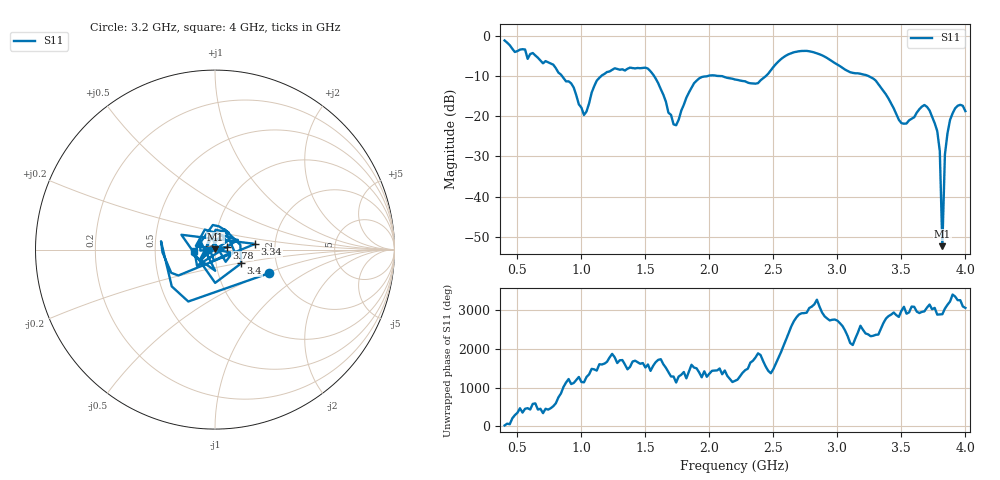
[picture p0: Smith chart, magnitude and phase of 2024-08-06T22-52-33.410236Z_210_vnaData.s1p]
!Created with skrf (http://scikit-rf.org).
# Hz S RI R 50.0
!freq ReS11 ImS11
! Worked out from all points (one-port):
!   181 points, 400 MHz to 4 GHz, reference 50 ohm
!   lowest |S11| = -52.3 dB at 3.82 GHz (marker M1), VSWR 1.00, Z = 50.2 + j0.0838 ohm
!   |S11| at or under -10 dB: 1.567 GHz to 1.991 GHz (423.5 MHz wide, 23.8 % of centre); 2.06 GHz to 2.442 GHz (382.6 MHz wide, 17 % of centre); 3.24 GHz to end of sweep (the widest 3 of 4)
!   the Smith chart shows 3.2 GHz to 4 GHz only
!   S11 on the Smith chart (normalised r, x): 3.2 GHz: 1.77, -0.52; 3.34 GHz: 1.57, +0.10; 3.4 GHz: 1.32, -0.21; 3.78 GHz: 1.14, +0.03; 4 GHz: 0.79, -0.01
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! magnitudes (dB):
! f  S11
! 400 MHz  -1.2
! 860 MHz  -10.5
! 940 MHz  -12.9
! 1.02 GHz  -19.7
! 1.12 GHz  -11.2
! 1.3 GHz  -8.5
! 1.52 GHz  -8.2
! 1.6 GHz  -11.8
! 1.72 GHz  -22.0
! 1.76 GHz  -20.9
! 1.92 GHz  -10.6
! 2.2 GHz  -10.9
! 2.38 GHz  -11.8
! 2.66 GHz  -4.1
! 3.1 GHz  -9.1
! 3.2 GHz  -9.6
! 3.34 GHz  -12.9
! 3.4 GHz  -15.7
! 3.5 GHz  -21.7
! 3.56 GHz  -21.0
! 3.68 GHz  -17.2
! 3.78 GHz  -23.7
! 3.8 GHz  -28.7
! 3.82 GHz  -52.3
! 3.84 GHz  -29.5
! 3.86 GHz  -24.3
! 3.92 GHz  -18.0
! 4 GHz  -18.8
